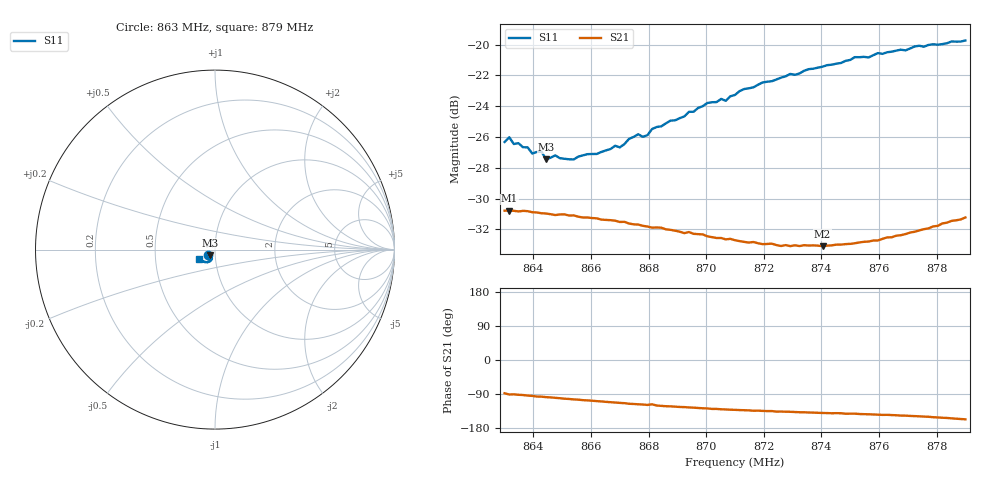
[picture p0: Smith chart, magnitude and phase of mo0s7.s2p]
# HZ S RI R 50
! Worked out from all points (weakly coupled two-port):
!   101 points, 863 MHz to 879 MHz, reference 50 ohm
!   highest |S21| = -30.79 dB at 863.16 MHz (marker M1); lowest = -33.1 dB at 874.04 MHz (marker M2)
!   lowest |S11| = -27.5 dB at 864.44 MHz (marker M3), VSWR 1.09, Z = 47.1 - j2.92 ohm
!   |S11| at or under -10 dB: start of sweep to end of sweep
!   S12 and S22 are empty: the file has one direction only
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8.63e8  -0.0378 -0.03  0.0011 -0.0288  0 0  0 0
8.6316e8  -0.0397 -0.0304  -0.000514 -0.0289  0 0  0 0
8.6332e8  -0.0375 -0.0292  -0.000279 -0.0288  0 0  0 0
8.638e8  -0.0338 -0.0318  -0.00194 -0.0287  0 0  0 0
8.6396e8  -0.0317 -0.0309  -0.00236 -0.0284  0 0  0 0
8.6428e8  -0.0314 -0.0322  -0.00333 -0.0281  0 0  0 0
8.6444e8  -0.0289 -0.031  -0.00393 -0.028  0 0  0 0
8.654e8  -0.0237 -0.0351  -0.00675 -0.027  0 0  0 0
8.6572e8  -0.0225 -0.0374  -0.00754 -0.0264  0 0  0 0
8.67e8  -0.0188 -0.0424  -0.0104 -0.0244  0 0  0 0
8.6732e8  -0.0199 -0.0452  -0.0113 -0.0237  0 0  0 0
8.6796e8  -0.0183 -0.0474  -0.0123 -0.0225  0 0  0 0
8.6812e8  -0.0168 -0.0505  -0.0115 -0.0227  0 0  0 0
8.6844e8  -0.0194 -0.0507  -0.0131 -0.0218  0 0  0 0
8.7004e8  -0.024 -0.06  -0.0146 -0.0188  0 0  0 0
8.7068e8  -0.0252 -0.0607  -0.0151 -0.0177  0 0  0 0
8.71e8  -0.028 -0.0627  -0.0153 -0.0173  0 0  0 0
8.7196e8  -0.034 -0.0672  -0.0157 -0.0161  0 0  0 0
8.7372e8  -0.0455 -0.0701  -0.0168 -0.0147  0 0  0 0
8.7404e8  -0.048 -0.0699  -0.0169 -0.0143  0 0  0 0
8.7644e8  -0.0691 -0.065  -0.0195 -0.0135  0 0  0 0
8.79e8  -0.0898 -0.0508  -0.0252 -0.0109  0 0  0 0
